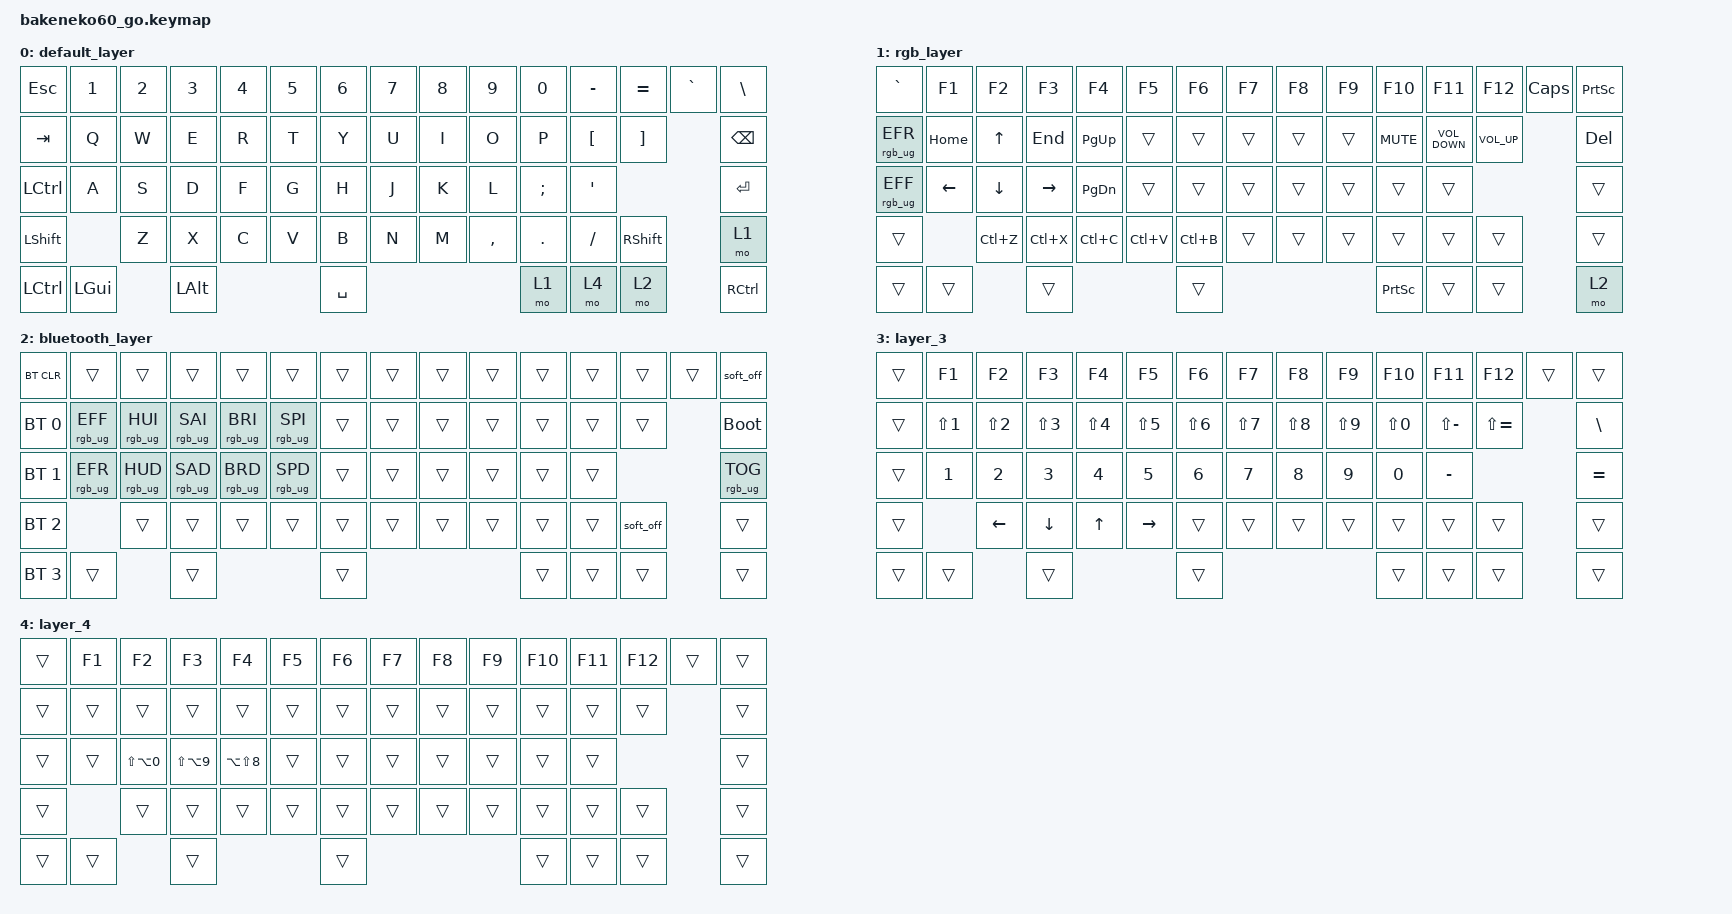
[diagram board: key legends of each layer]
/*
 * Copyright (c) 2023 Andrew Kannan
 *
 * SPDX-License-Identifier: MIT
 */

#include <behaviors.dtsi>
#include <dt-bindings/zmk/bt.h>
#include <dt-bindings/zmk/keys.h>
#include <dt-bindings/zmk/rgb.h>

&gresc {
    bindings = <&kp ESC>, <&kp TILDE>;
};

/ {
    keymap {
        compatible = "zmk,keymap";

        default_layer {
            // ------------------------------------------------------------------------------------------
            // | ESC |  1  |  2  |  3  |  4  |  5  |  6  |  7  |  8  |  9  |  0  |  -  |  =  | BKSP|BKSP|
            // | TAB  |  Q  |  W  |  E  |  R  |  T  |  Y  |  U  |  I  |  O  |  P  |  [  |  ]  |   "|"   |
            // | CAPS  |  A  |  S  |  D  |  F  |  G  |  H  |  J  |  K  |  L  |  ;  |  '  |     ENTER    |
            // |  SHIFT  |  Z  |  X  |  C  |  V  |  B  |  N  |  M  |  ,  |  .  |  /  |  SHIFT  | MO(1)  |
            // |  CTL  |  WIN  |  ALT  |            SPACE              |  ALT  |  WIN  |  MO(1) |  CTL  |
            // ------------------------------------------------------------------------------------------

            bindings = <
&kp ESCAPE  &kp N1    &kp N2  &kp N3    &kp N4  &kp N5  &kp N6     &kp N7  &kp N8  &kp N9     &kp N0    &kp MINUS  &kp EQUAL  &kp GRAVE  &kp BACKSLASH
&kp TAB     &kp Q     &kp W   &kp E     &kp R   &kp T   &kp Y      &kp U   &kp I   &kp O      &kp P     &kp LBKT   &kp RBKT              &kp BACKSPACE
&kp LCTRL   &kp A     &kp S   &kp D     &kp F   &kp G   &kp H      &kp J   &kp K   &kp L      &kp SEMI  &kp SQT                          &kp RET
&kp LSHFT             &kp Z   &kp X     &kp C   &kp V   &kp B      &kp N   &kp M   &kp COMMA  &kp DOT   &kp FSLH   &kp RSHFT             &mo 1
&kp LCTRL   &kp LGUI          &kp LALT                  &kp SPACE                             &mo 1     &mo 4      &mo 2                 &kp RCTRL
            >;
        };

        rgb_layer {
            // ------------------------------------------------------------------------------------------------
            // |    `   | F1  | F2  | F3  | F4  | F5  | F6  | F7  | F8  | F9  | F10  | F11 | F12 |     | DEL  |
            // | EFCT REV|   |  UP |   | HUEUP | SATUP | BRIUP | SPDUP |      |  PGUP |    |     |    |       |
            // | EFCT FWD | LT |  DN  | RT | HUEDN | SATDN | BRIDN | SPDDN | HOME | PGDN | END  |  | BOOTLDR  |
            // |             |     |      |      |     |     |     |     |     |     |     |         |        |
            // |         |      |      |             TOG RGB                | PRT SCR |       |       |  MO(2)|
            // ------------------------------------------------------------------------------------------------

            bindings = <
&kp GRAVE        &kp F1    &kp F2     &kp F3     &kp F4         &kp F5     &kp F6     &kp F7  &kp F8  &kp F9  &kp F10     &kp F11            &kp F12          &kp CAPS  &kp PRINTSCREEN
&rgb_ug RGB_EFR  &kp HOME  &kp UP     &kp END    &kp PAGE_UP    &trans     &trans     &trans  &trans  &trans  &kp K_MUTE  &kp C_VOLUME_DOWN  &kp C_VOLUME_UP            &kp DEL
&rgb_ug RGB_EFF  &kp LEFT  &kp DOWN   &kp RIGHT  &kp PAGE_DOWN  &trans     &trans     &trans  &trans  &trans  &trans      &trans                                        &trans
&trans                     &kp LC(Z)  &kp LC(X)  &kp LC(C)      &kp LC(V)  &kp LC(B)  &trans  &trans  &trans  &trans      &trans             &trans                     &trans
&trans           &trans               &trans                               &trans                             &kp PSCRN   &trans             &trans                     &mo 2
            >;
        };

        bluetooth_layer {
            // ------------------------------------------------------------------------------------------------
            // | BT CLR |     |     |     |     |     |     |     |     |     |     |    |    |       |       |
            // |  BT 1   |   |     |   |       |       |       |       |   |     |    |     |     |           |
            // |   BT 2   |    |      |    |       |       |       |       |      |      |      |  |   Reset  |
            // |    BT 3     |     |      |      |     |     |     |     |     |     |     |         |        |
            // |   BT 4  |      |      |                                    |         |       |       |       |
            // ------------------------------------------------------------------------------------------------

            bindings = <
&bt BT_CLR    &trans           &trans           &trans           &trans           &trans           &trans  &trans  &trans  &trans  &trans  &trans  &trans     &trans  &soft_off
&bt BT_SEL 0  &rgb_ug RGB_EFF  &rgb_ug RGB_HUI  &rgb_ug RGB_SAI  &rgb_ug RGB_BRI  &rgb_ug RGB_SPI  &trans  &trans  &trans  &trans  &trans  &trans  &trans             &bootloader
&bt BT_SEL 1  &rgb_ug RGB_EFR  &rgb_ug RGB_HUD  &rgb_ug RGB_SAD  &rgb_ug RGB_BRD  &rgb_ug RGB_SPD  &trans  &trans  &trans  &trans  &trans  &trans                     &rgb_ug RGB_TOG
&bt BT_SEL 2                   &trans           &trans           &trans           &trans           &trans  &trans  &trans  &trans  &trans  &trans  &soft_off          &trans
&bt BT_SEL 3  &trans                            &trans                                             &trans                          &trans  &trans  &trans             &trans
            >;
        };

        layer_3 {
            bindings = <
&trans  &kp F1        &kp F2      &kp F3      &kp F4        &kp F5      &kp F6      &kp F7      &kp F8      &kp F9      &kp F10     &kp F11        &kp F12        &trans  &trans
&trans  &kp LS(N1)    &kp LS(N2)  &kp LS(N3)  &kp LS(N4)    &kp LS(N5)  &kp LS(N6)  &kp LS(N7)  &kp LS(N8)  &kp LS(N9)  &kp LS(N0)  &kp LS(MINUS)  &kp LS(EQUAL)          &kp BACKSLASH
&trans  &kp NUMBER_1  &kp N2      &kp N3      &kp N4        &kp N5      &kp N6      &kp N7      &kp N8      &kp N9      &kp N0      &kp MINUS                             &kp EQUAL
&trans                &kp LEFT    &kp DOWN    &kp UP_ARROW  &kp RIGHT   &trans      &trans      &trans      &trans      &trans      &trans         &trans                 &trans
&trans  &trans                    &trans                                &trans                                          &trans      &trans         &trans                 &trans
            >;
        };

        layer_4 {
            bindings = <
&trans  &kp F1  &kp F2          &kp F3          &kp F4          &kp F5  &kp F6  &kp F7  &kp F8  &kp F9  &kp F10  &kp F11  &kp F12  &trans  &trans
&trans  &trans  &trans          &trans          &trans          &trans  &trans  &trans  &trans  &trans  &trans   &trans   &trans           &trans
&trans  &trans  &kp LS(LA(N0))  &kp LS(LA(N9))  &kp LA(LS(N8))  &trans  &trans  &trans  &trans  &trans  &trans   &trans                    &trans
&trans          &trans          &trans          &trans          &trans  &trans  &trans  &trans  &trans  &trans   &trans   &trans           &trans
&trans  &trans                  &trans                                  &trans                          &trans   &trans   &trans           &trans
            >;
        };
    };

    combos { compatible = "zmk,combos"; };
};
